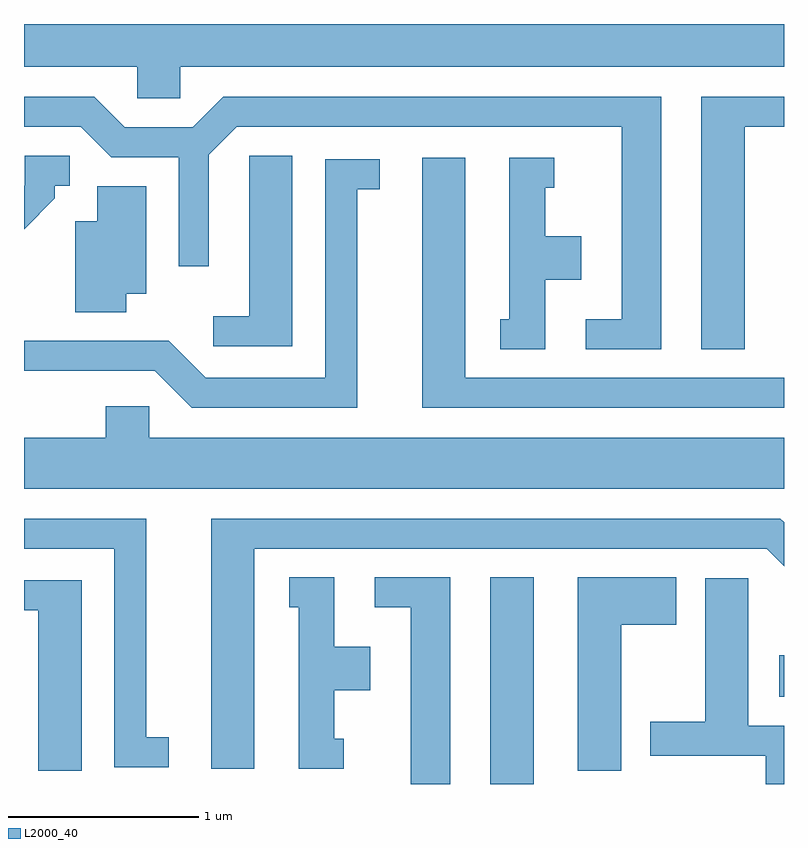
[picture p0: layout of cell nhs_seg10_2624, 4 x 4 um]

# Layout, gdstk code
import gdstk
lib = gdstk.Library(unit=1e-6, precision=1e-09)
def R(c, l, rs):  # rectangles x0, y0, x1, y1
    for r in rs: c.add(gdstk.rectangle(r[:2], r[2:], *l))
def P(c, l, *ps):  # polygons
    for p in ps: c.add(gdstk.Polygon(p, *l))
L2000_40 = (2000, 40)

nhs_seg10_2624 = lib.new_cell('nhs_seg10_2624')
R(nhs_seg10_2624, L2000_40, [(264.066,2174.522,264.294,2175.609), (265.586,2174.981,265.611,2175.199)])
P(nhs_seg10_2624, L2000_40, [(262.434,2178.296),(265.611,2178.296),(265.611,2178.522),(261.611,2178.522),(261.611,2178.296),(262.206,2178.296),(262.206,2178.131),(262.434,2178.131)],
  [(264.964,2178.139),(262.659,2178.139),(262.499,2177.979),(262.142,2177.979),(261.981,2178.139),(261.611,2178.139),(261.611,2177.981),(261.909,2177.981),(262.069,2177.821),(262.426,2177.821),(262.426,2177.248),(262.584,2177.248),(262.584,2177.834),(262.732,2177.981),(264.756,2177.981),(264.756,2176.969),(264.568,2176.969),(264.568,2176.811),(264.964,2176.811)],
  [(265.404,2177.981),(265.611,2177.981),(265.611,2178.139),(265.176,2178.139),(265.176,2176.811),(265.404,2176.811)],
  [(263.024,2177.829),(262.796,2177.829),(262.796,2176.984),(262.608,2176.984),(262.608,2176.826),(263.024,2176.826)],
  [(261.774,2177.604),(261.774,2177.671),(261.853,2177.671),(261.853,2177.829),(261.616,2177.829),(261.616,2177.677),(261.611,2177.672),(261.611,2177.441)],
  [(264.354,2177.176),(264.544,2177.176),(264.544,2177.404),(264.354,2177.404),(264.354,2177.661),(264.403,2177.661),(264.403,2177.819),(264.166,2177.819),(264.166,2176.969),(264.118,2176.969),(264.118,2176.811),(264.354,2176.811)],
  [(265.611,2176.659),(263.934,2176.659),(263.934,2177.819),(263.706,2177.819),(263.706,2176.501),(265.611,2176.501)],
  [(263.364,2177.651),(263.483,2177.651),(263.483,2177.809),(263.196,2177.809),(263.196,2176.659),(262.567,2176.659),(262.372,2176.854),(261.611,2176.854),(261.611,2176.696),(262.299,2176.696),(262.494,2176.501),(263.364,2176.501)],
  [(262.149,2177.101),(262.254,2177.101),(262.254,2177.669),(261.996,2177.669),(261.996,2177.484),(261.881,2177.484),(261.881,2177.006),(262.149,2177.006)],
  [(265.611,2176.344),(262.269,2176.344),(262.269,2176.509),(262.041,2176.509),(262.041,2176.344),(261.611,2176.344),(261.611,2176.076),(265.611,2176.076)],
  [(262.824,2175.761),(265.519,2175.761),(265.611,2175.669),(265.611,2175.9),(265.592,2175.919),(262.596,2175.919),(262.596,2174.601),(262.824,2174.601)],
  [(262.373,2174.769),(262.254,2174.769),(262.254,2175.919),(261.611,2175.919),(261.611,2175.761),(262.086,2175.761),(262.086,2174.611),(262.373,2174.611)],
  [(263.293,2174.759),(263.244,2174.759),(263.244,2175.016),(263.434,2175.016),(263.434,2175.244),(263.244,2175.244),(263.244,2175.609),(263.008,2175.609),(263.008,2175.451),(263.056,2175.451),(263.056,2174.601),(263.293,2174.601)],
  [(263.854,2175.609),(263.458,2175.609),(263.458,2175.451),(263.646,2175.451),(263.646,2174.522),(263.854,2174.522)],
  [(264.754,2175.361),(265.044,2175.361),(265.044,2175.609),(264.526,2175.609),(264.526,2174.591),(264.754,2174.591)],
  [(265.611,2174.829),(265.424,2174.829),(265.424,2175.604),(265.196,2175.604),(265.196,2174.849),(264.906,2174.849),(264.906,2174.671),(265.516,2174.671),(265.516,2174.522),(265.611,2174.522)],
  [(261.914,2175.594),(261.611,2175.594),(261.611,2175.436),(261.686,2175.436),(261.686,2174.591),(261.914,2174.591)])

lib.write_gds('nhs_seg10_2624.gds')
